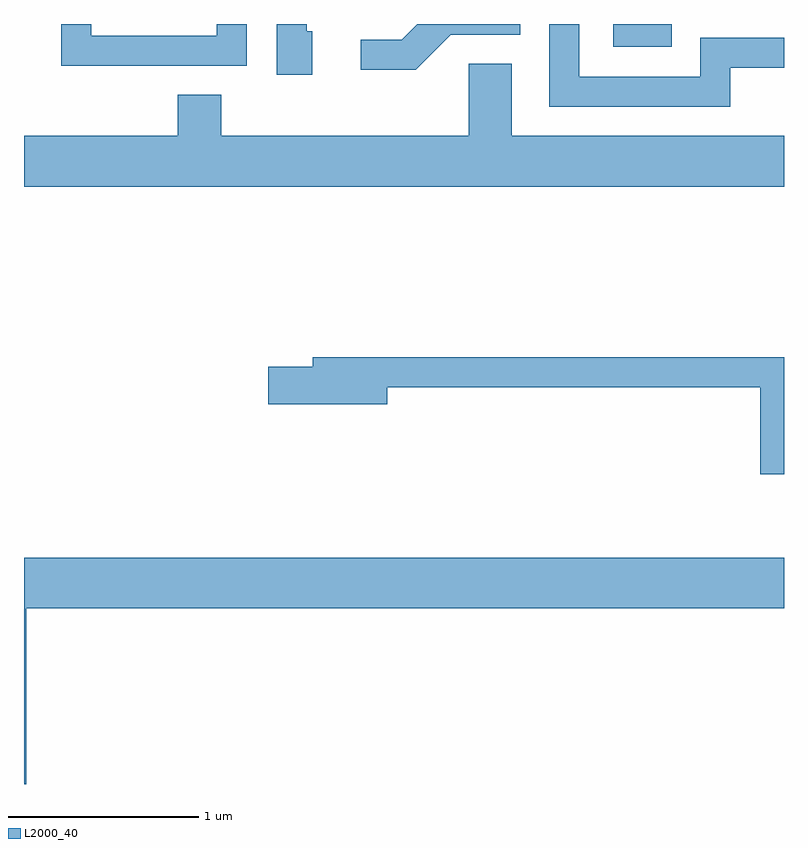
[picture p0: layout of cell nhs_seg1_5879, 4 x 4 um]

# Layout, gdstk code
import gdstk
lib = gdstk.Library(unit=1e-6, precision=1e-09)
def R(c, l, rs):  # rectangles x0, y0, x1, y1
    for r in rs: c.add(gdstk.rectangle(r[:2], r[2:], *l))
def P(c, l, *ps):  # polygons
    for p in ps: c.add(gdstk.Polygon(p, *l))
L2000_40 = (2000, 40)

nhs_seg1_5879 = lib.new_cell('nhs_seg1_5879')
R(nhs_seg1_5879, L2000_40, [(364.711,953.591,365.019,953.712)])
P(nhs_seg1_5879, L2000_40, [(363.129,953.674),(363.099,953.674),(363.099,953.712),(362.941,953.712),(362.941,953.446),(363.129,953.446)],
  [(365.329,953.481),(365.611,953.481),(365.611,953.639),(365.171,953.639),(365.171,953.434),(364.534,953.434),(364.534,953.712),(364.376,953.712),(364.376,953.276),(365.329,953.276)],
  [(363.857,953.656),(364.224,953.656),(364.224,953.712),(363.682,953.712),(363.599,953.629),(363.383,953.629),(363.383,953.471),(363.672,953.471)],
  [(362.784,953.712),(362.626,953.712),(362.626,953.649),(361.964,953.649),(361.964,953.712),(361.806,953.712),(361.806,953.491),(362.784,953.491)],
  [(365.611,953.124),(364.179,953.124),(364.179,953.504),(363.951,953.504),(363.951,953.124),(362.649,953.124),(362.649,953.339),(362.421,953.339),(362.421,953.124),(361.611,953.124),(361.611,952.856),(365.611,952.856)],
  [(365.611,951.959),(363.131,951.959),(363.131,951.909),(362.896,951.909),(362.896,951.711),(363.524,951.711),(363.524,951.801),(365.486,951.801),(365.486,951.341),(365.611,951.341)],
  [(361.624,950.636),(365.611,950.636),(365.611,950.904),(361.611,950.904),(361.611,949.712),(361.624,949.712)])

lib.write_gds('nhs_seg1_5879.gds')
